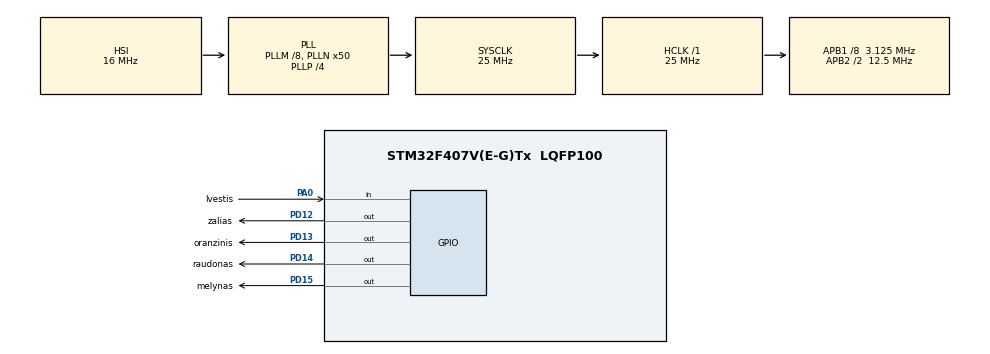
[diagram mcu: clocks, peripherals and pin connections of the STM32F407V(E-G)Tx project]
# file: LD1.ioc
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Mcu.Family=STM32F4
Mcu.Name=STM32F407V(E-G)Tx
Mcu.Package=LQFP100
NVIC.PriorityGroup=NVIC_PRIORITYGROUP_0
PA0-WKUP.GPIO_Label=Ivestis
PA0-WKUP.Signal=GPIO_Input
PD12.GPIO_Label=zalias
PD12.Signal=GPIO_Output
PD13.GPIO_Label=oranzinis
PD13.Signal=GPIO_Output
PD14.GPIO_Label=raudonas
PD14.Signal=GPIO_Output
PD15.GPIO_Label=melynas
PD15.Signal=GPIO_Output
ProjectManager.HeapSize=0x200
ProjectManager.StackSize=0x400
ProjectManager.TargetToolchain=STM32CubeIDE
RCC.48MHZClocksFreq_Value=14285714.285714285
RCC.AHBFreq_Value=25000000
RCC.APB1CLKDivider=RCC_HCLK_DIV8
RCC.APB1Freq_Value=3125000
RCC.APB1TimFreq_Value=6250000
RCC.APB2CLKDivider=RCC_HCLK_DIV2
RCC.APB2Freq_Value=12500000
RCC.APB2TimFreq_Value=25000000
RCC.CortexFreq_Value=25000000
RCC.HCLKFreq_Value=25000000
RCC.HSE_VALUE=8000000
RCC.HSI_VALUE=16000000
RCC.PLLM=8
RCC.PLLN=50
RCC.PLLP=RCC_PLLP_DIV4
RCC.PLLQ=7
RCC.SYSCLKFreq_VALUE=25000000
RCC.SYSCLKSource=RCC_SYSCLKSOURCE_PLLCLK
RCC.VCOOutputFreq_Value=100000000
board=STM32F407G-DISC1

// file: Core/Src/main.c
/* USER CODE BEGIN Header */
/**
  ******************************************************************************
  * @file           : main.c
  * @brief          : Main program body
  ******************************************************************************
  * @attention
  *
  * Copyright (c) 2024 STMicroelectronics.
  * All rights reserved.
  *
  * This software is licensed under terms that can be found in the LICENSE file
  * in the root directory of this software component.
  * If no LICENSE file comes with this software, it is provided AS-IS.
  *
  ******************************************************************************
  */
/* USER CODE END Header */
#include "main.h"

void SystemClock_Config(void);
static void MX_GPIO_Init(void);

int main(void)
{

  /* MCU Configuration--------------------------------------------------------*/

  /* Reset of all peripherals, Initializes the Flash interface and the Systick. */
  HAL_Init();

  /* Configure the system clock */
  SystemClock_Config();

  /* Initialize all configured peripherals */
  MX_GPIO_Init();
  /* USER CODE BEGIN 2 */
  uint32_t blink_delay = 1000;
  GPIO_PinState button_last_state = GPIO_PIN_RESET;
  uint32_t last_button_press = 0;
  uint32_t current_time = 0;
  uint8_t button_state = 0;
  /* USER CODE END 2 */

  /* Infinite loop */
  while (1)
  {

    /* USER CODE BEGIN 3 */
//	PIRMA PRIVALOMA DALIS
	   HAL_GPIO_WritePin(GPIOD, GPIO_PIN_12, GPIO_PIN_RESET);
	        HAL_GPIO_WritePin(GPIOD, GPIO_PIN_15, GPIO_PIN_RESET);
	        HAL_Delay(1000); // Laukiama 1 sekundę
	        HAL_GPIO_TogglePin(GPIOD, GPIO_PIN_14);

	        // 2 - Mėlynas įjungtas, Žalias išjungtas
	        HAL_GPIO_WritePin(GPIOD, GPIO_PIN_12, GPIO_PIN_SET);
	        HAL_GPIO_WritePin(GPIOD, GPIO_PIN_15, GPIO_PIN_RESET);
	        HAL_Delay(1000); // Laukiama 1 sekundę
	        HAL_GPIO_TogglePin(GPIOD, GPIO_PIN_14);

	        // 3 - Mėlynas įjungtas, Žalias įjungtas
	        HAL_GPIO_WritePin(GPIOD, GPIO_PIN_12, GPIO_PIN_SET);
	        HAL_GPIO_WritePin(GPIOD, GPIO_PIN_15, GPIO_PIN_SET);
	        HAL_Delay(1000); // Laukiama 1 sekundę

	     	HAL_GPIO_TogglePin(GPIOD, GPIO_PIN_13);

	        HAL_GPIO_TogglePin(GPIOD, GPIO_PIN_14);

// ANTRA PAPILDOMA DALIS
//	        if (HAL_GPIO_ReadPin(GPIOA, GPIO_PIN_0) == GPIO_PIN_SET) {
//	                    HAL_GPIO_WritePin(GPIOD, GPIO_PIN_15, GPIO_PIN_SET);
//	                } else {
//	                    HAL_GPIO_WritePin(GPIOD, GPIO_PIN_15, GPIO_PIN_RESET);
//	                }
//	        current_time = HAL_GetTick();
//	            button_state = HAL_GPIO_ReadPin(GPIOA, GPIO_PIN_0);
//	            if (button_state == GPIO_PIN_SET && button_last_state == GPIO_PIN_RESET) {
//	                last_button_press = current_time;
//	                blink_delay += 500; // Mirksėjimo dažnumas padidinamas 0,5 sekundės žingsniu
//	                if (blink_delay < 500) {
//	                    blink_delay = 500; // Mirksėjimo dažnumas negali būti mažesnis nei 0,5 sekundės
//	                }
//	            }
//	            button_last_state = button_state;
//
//	            // Mirksi oranžinis šviesos diodas
//	            HAL_GPIO_TogglePin(GPIOD, GPIO_PIN_13);
//	            HAL_Delay(blink_delay);

  }
  /* USER CODE END 3 */
}

void SystemClock_Config(void)
{
  RCC_OscInitTypeDef RCC_OscInitStruct = {0};
  RCC_ClkInitTypeDef RCC_ClkInitStruct = {0};

  /** Configure the main internal regulator output voltage
  */
  __HAL_RCC_PWR_CLK_ENABLE();
  __HAL_PWR_VOLTAGESCALING_CONFIG(PWR_REGULATOR_VOLTAGE_SCALE1);

  /** Initializes the RCC Oscillators according to the specified parameters
  * in the RCC_OscInitTypeDef structure.
  */
  RCC_OscInitStruct.OscillatorType = RCC_OSCILLATORTYPE_HSI;
  RCC_OscInitStruct.HSIState = RCC_HSI_ON;
  RCC_OscInitStruct.HSICalibrationValue = RCC_HSICALIBRATION_DEFAULT;
  RCC_OscInitStruct.PLL.PLLState = RCC_PLL_ON;
  RCC_OscInitStruct.PLL.PLLSource = RCC_PLLSOURCE_HSI;
  RCC_OscInitStruct.PLL.PLLM = 8;
  RCC_OscInitStruct.PLL.PLLN = 50;
  RCC_OscInitStruct.PLL.PLLP = RCC_PLLP_DIV4;
  RCC_OscInitStruct.PLL.PLLQ = 7;
  if (HAL_RCC_OscConfig(&RCC_OscInitStruct) != HAL_OK)
  {
    Error_Handler();
  }

  /** Initializes the CPU, AHB and APB buses clocks
  */
  RCC_ClkInitStruct.ClockType = RCC_CLOCKTYPE_HCLK|RCC_CLOCKTYPE_SYSCLK
                              |RCC_CLOCKTYPE_PCLK1|RCC_CLOCKTYPE_PCLK2;
  RCC_ClkInitStruct.SYSCLKSource = RCC_SYSCLKSOURCE_PLLCLK;
  RCC_ClkInitStruct.AHBCLKDivider = RCC_SYSCLK_DIV1;
  RCC_ClkInitStruct.APB1CLKDivider = RCC_HCLK_DIV8;
  RCC_ClkInitStruct.APB2CLKDivider = RCC_HCLK_DIV2;

  if (HAL_RCC_ClockConfig(&RCC_ClkInitStruct, FLASH_LATENCY_0) != HAL_OK)
  {
    Error_Handler();
  }
}

static void MX_GPIO_Init(void)
{
  GPIO_InitTypeDef GPIO_InitStruct = {0};

  /* GPIO Ports Clock Enable */
  __HAL_RCC_GPIOA_CLK_ENABLE();
  __HAL_RCC_GPIOD_CLK_ENABLE();

  /*Configure GPIO pin Output Level */
  HAL_GPIO_WritePin(GPIOD, zalias_Pin|oranzinis_Pin|raudonas_Pin|melynas_Pin, GPIO_PIN_RESET);

  /*Configure GPIO pin : Ivestis_Pin */
  GPIO_InitStruct.Pin = Ivestis_Pin;
  GPIO_InitStruct.Mode = GPIO_MODE_INPUT;
  GPIO_InitStruct.Pull = GPIO_NOPULL;
  HAL_GPIO_Init(Ivestis_GPIO_Port, &GPIO_InitStruct);

  /*Configure GPIO pins : zalias_Pin oranzinis_Pin raudonas_Pin melynas_Pin */
  GPIO_InitStruct.Pin = zalias_Pin|oranzinis_Pin|raudonas_Pin|melynas_Pin;
  GPIO_InitStruct.Mode = GPIO_MODE_OUTPUT_PP;
  GPIO_InitStruct.Pull = GPIO_NOPULL;
  GPIO_InitStruct.Speed = GPIO_SPEED_FREQ_LOW;
  HAL_GPIO_Init(GPIOD, &GPIO_InitStruct);

}

void Error_Handler(void)
{
  __disable_irq();
  while (1)
  {
  }
}
